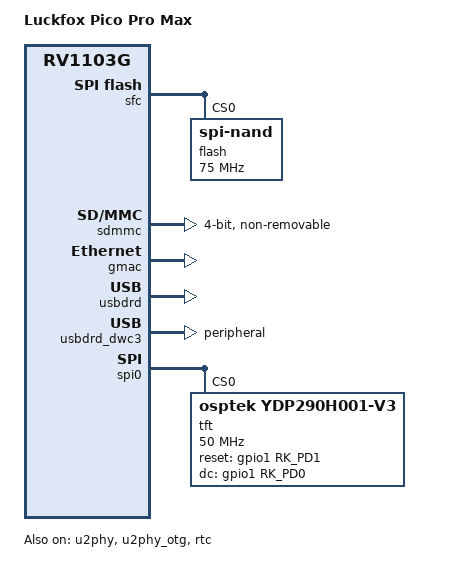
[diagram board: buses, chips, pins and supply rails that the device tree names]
// SPDX-License-Identifier: (GPL-2.0+ OR MIT)
/*
 * Copyright (c) 2022 Rockchip Electronics Co., Ltd.
 */

/dts-v1/;

#include "rv1106.dtsi"
#include "rv1106-evb.dtsi"
#include "rv1106-luckfox-pico-pro-max-ipc.dtsi"

/ {
	model = "Luckfox Pico Pro Max";
	compatible = "rockchip,rv1103g-38x38-ipc-v10", "rockchip,rv1106g3";

	chosen {
		bootargs = "earlycon=uart8250,mmio32,0xff4c0000 console=tty0 console=ttyFIQ0 root=/dev/mmcblk1p7 rootwait snd_soc_core.prealloc_buffer_size_kbytes=16 coherent_pool=0";
	};
};

/**********CRU**********/
//&cru {
//	assigned-clocks =
//		<&cru PLL_GPLL>, <&cru PLL_CPLL>,
//		<&cru ARMCLK>,
//		<&cru ACLK_PERI_ROOT>, <&cru HCLK_PERI_ROOT>,
//		<&cru PCLK_PERI_ROOT>, <&cru ACLK_BUS_ROOT>,
//		<&cru PCLK_TOP_ROOT>, <&cru PCLK_PMU_ROOT>,
//		<&cru HCLK_PMU_ROOT>, <&cru CLK_500M_SRC>;
//	assigned-clock-rates =
//		<1188000000>, <700000000>,
//		<1104000000>,
//		<400000000>, <200000000>,
//		<100000000>, <300000000>,
//		<100000000>, <100000000>,
//		<200000000>, <700000000>;
//};

/**********NPU**********/
//&npu {
//	assigned-clock-rates = <700000000>;
//};

/**********FLASH**********/
&sfc {
	status = "okay";
	flash@0 {
		compatible = "spi-nand";
		reg = <0>;
		spi-max-frequency = <75000000>;
		spi-rx-bus-width = <4>;
		spi-tx-bus-width = <1>;
	};
};

/**********SDMMC**********/
&sdmmc {
	max-freqency = <50000000>;
	no-mmc;
	bus-width = <4>;
	cap-mmc-highspeed;
	cap-sd-highspeed;
	disable-wp;

	//sdio
	cap-sdio-irq;
	non-removable;
	no-1-8-v;
	supports-sdio;

	pinctrl-names = "default";
	pinctrl-0 = <&sdmmc0_clk &sdmmc0_cmd &sdmmc0_det &sdmmc0_bus4>;
	status = "okay";
};

/**********ETH**********/
&gmac {
	status = "okay";
};

/**********USB**********/
&u2phy {
	status = "okay";
};

&u2phy_otg {
	rockchip,dis-u2-susphy;
	status = "okay";
};

&usbdrd {
	status = "okay";
};

&usbdrd_dwc3 {
	status = "okay";
	dr_mode = "peripheral";
};

&pinctrl {
	tft {
		tft_pins: tft_pins {
			rockchip,pins =
				/* tft_dc */
				<1 RK_PD0 RK_FUNC_GPIO &pcfg_pull_none>,
				/* tft_reset */
				<1 RK_PD1 RK_FUNC_GPIO &pcfg_pull_none>;
		};
	};
};

/**********SPI**********/
&spi0 {
	status = "okay";

	spidev@0 {
		spi-max-frequency = <50000000>;
		status = "disabled";
	};
	fbtft@0 {
		spi-max-frequency = <50000000>;
		status = "disabled";
	};

	tft: st7305@0 {
		#address-cells = <1>;
		#size-cells = <1>;

		pinctrl-names = "default";
		pinctrl-0 = <&tft_pins>;

		// compatible = "osptek,ydp154h008-v3";
		// compatible = "osptek,ydp213h001-v3";
		compatible = "osptek,ydp290h001-v3";
		// compatible = "osptek,ydp420h001-v3";

		spi-max-frequency = <50000000>;
		reg = <0>;

		reset-gpios = <&gpio1 RK_PD1 GPIO_ACTIVE_HIGH>;
		dc-gpios = <&gpio1 RK_PD0 GPIO_ACTIVE_HIGH>;

		status = "okay";
	};
};

/**********I2C**********/
/* I2C3_M1 */
&i2c3 {
	status = "disabled";
	clock-frequency = <100000>;
};

/* I2C1_M1 */
&i2c1 {
	status = "disabled";
	clock-frequency = <100000>;
};


/**********UART**********/
/* UART3_M1 */
&uart3 {
	status = "disabled";
};

/* UART4_M1 */
&uart4 {
	status = "disabled";
};

/**********RTC**********/
&rtc {
	status = "okay";
};
